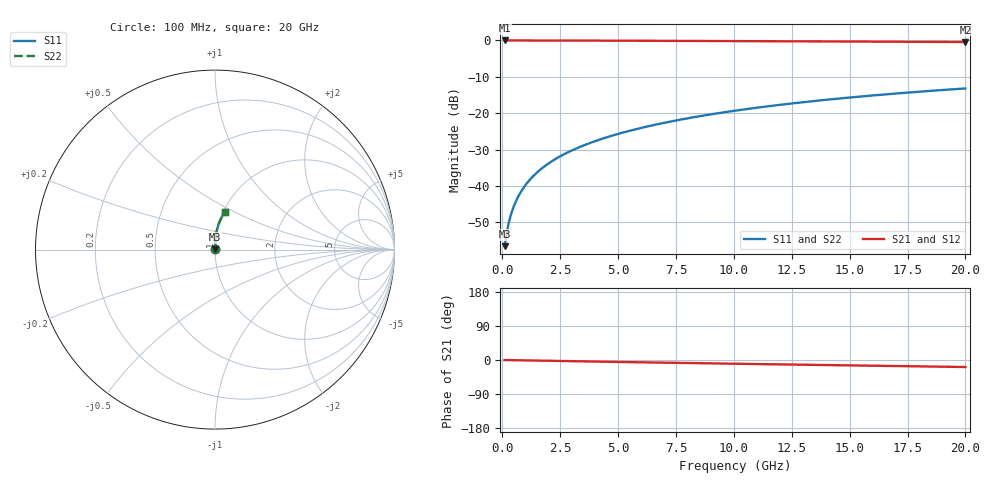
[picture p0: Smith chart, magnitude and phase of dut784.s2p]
! Touchstone file exported from HFSS 2024.1.0
!  File:  C:/UserFiles/LocalFiles/RDL_TSV_Batchsim/temp_RDL_bottom_784_1779861210.aedt
!  Generated:  01:58:16 PM May 27, 2026
!  Design:  RDL_bottom
!  Project:  temp_RDL_bottom_784_1779861210
!  Setup:  Setup1
!  Solution:  Sweep
! Variables:
!  dtsv = 10.80580581um
!  hbump = 3um
!  htsv = 64um
!  ldown = 215.33um
!  lrdl = 100um
!  p = 40
!  p1 = 54.7um
!  rhole = 1um
!  t = 450um
!  tdown = 4.52um
!  trdl = 3.915915916um
!  wdown = 19.41um
!  wrdl = 20um
# GHz S MA R 50.000000
! Terminal data exported
! Port[1] = RDL1_T1
! Port[2] = RDL1_T2
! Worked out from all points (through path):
!   200 points, 100 MHz to 20 GHz, reference 50 ohm
!   highest |S21| = -0.01 dB at 100 MHz (marker M1); lowest = -0.4 dB at 20 GHz (marker M2)
!   group delay of S21, straight-line fit = 2.55 ps
!   lowest |S11| = -56.6 dB at 100 MHz (marker M3), VSWR 1.00, Z = 50.1 + j0.107 ohm
!   |S11| at or under -10 dB: start of sweep to end of sweep
!   |S22| runs from -56.6 to -13.2 dB; largest |S21 - S12| = 7.9e-15
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0.1  0.001482 46.3  0.999 -0.1  0.999 -0.1  0.001482 46.3
! Gamma 0 0 0 0
! Port Impedance 50 0 50 0
0.2  0.002366 63.2  0.9989 -0.2  0.9989 -0.2  0.002366 63.2
0.3  0.003317 70.5  0.9989 -0.3  0.9989 -0.3  0.003317 70.5
0.4  0.004285 74.7  0.9988 -0.4  0.9988 -0.4  0.004285 74.7
0.5  0.005264 77.4  0.9987 -0.5  0.9987 -0.5  0.005264 77.4
0.7  0.007243 80.7  0.9986 -0.7  0.9986 -0.7  0.007243 80.7
0.8  0.00824 81.7  0.9986 -0.9  0.9986 -0.9  0.00824 81.7
1  0.01024 83.3  0.9984 -1.1  0.9984 -1.1  0.01024 83.3
1.2  0.01226 84.3  0.9983 -1.3  0.9983 -1.3  0.01226 84.3
1.4  0.01428 85.1  0.9981 -1.5  0.9981 -1.5  0.01428 85.1
1.7  0.01732 85.8  0.9978 -1.8  0.9978 -1.8  0.01732 85.8
2  0.02038 86.4  0.9975 -2.1  0.9975 -2.1  0.02038 86.4
2.7  0.02757 87.1  0.9965 -2.8  0.9965 -2.8  0.02757 87.1
3.5  0.03588 87.4  0.995 -3.7  0.995 -3.7  0.03588 87.4
4.2  0.04326 87.5  0.9936 -4.4  0.9936 -4.4  0.04326 87.5
5  0.05181 87.4  0.9918 -5.1  0.9918 -5.1  0.05181 87.4
6.8  0.07151 86.8  0.9874 -6.9  0.9874 -6.9  0.07151 86.8
8.4  0.08941 85.8  0.9833 -8.4  0.9833 -8.4  0.08941 85.8
10.1  0.1087 84.5  0.9788 -9.9  0.9788 -9.9  0.1087 84.5
13.4  0.1461 81.6  0.9699 -12.9  0.9699 -12.9  0.1461 81.6
16.7  0.1829 78.4  0.9606 -15.7  0.9606 -15.7  0.1829 78.4
20  0.2187 75.3  0.9509 -18.5  0.9509 -18.5  0.2187 75.3
